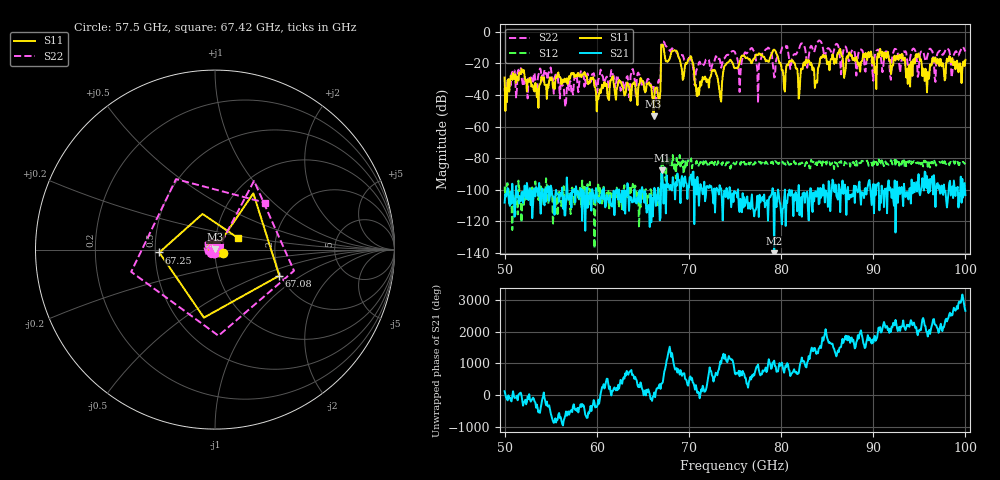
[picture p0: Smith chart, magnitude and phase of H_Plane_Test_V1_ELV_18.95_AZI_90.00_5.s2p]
! 11/27/2026 8:04:07 AM
! C:\ANRITSUVNA\TEMP\TEMP.S2P
! CHANNEL.1
! TR.MEASUREMENT
! RAW.DATA
# HZ S RI R 50.0
! FREQ.HZ  S11RE  S11IM  S21RE  S21IM  S12RE  S12IM  S22RE  S22IM
!; PortSelection: Port_12
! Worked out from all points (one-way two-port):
!   601 points, 50 GHz to 100 GHz, reference 50 ohm
!   highest |S21| = -87.73 dB at 67.08 GHz (marker M1); lowest = -140.0 dB at 79.25 GHz (marker M2)
!   lowest |S11| = -53.5 dB at 66.17 GHz (marker M3), VSWR 1.00, Z = 50.1 + j0.168 ohm
!   |S11| at or under -10 dB: start of sweep to 67 GHz; 67.24 GHz to end of sweep
!   |S22| runs from -47.6 to -5.6 dB; largest |S21 - S12| = 0.00013
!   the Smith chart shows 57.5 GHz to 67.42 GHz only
!   S11 on the Smith chart (normalised r, x): 57.5 GHz: 1.09, -0.04; 67.08 GHz: 1.96, -0.67; 67.25 GHz: 0.53, -0.02; 67.42 GHz: 1.28, +0.17
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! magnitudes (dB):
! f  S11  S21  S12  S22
! 50 GHz  -29.0  -108.1  -97.9  -35.8
! 51.67 GHz  -26.2  -104.4  -106.1  -23.2
! 53.42 GHz  -34.7  -98.2  -99.7  -35.5
! 57.5 GHz  -26.1  -101.2  -106.1  -34.5
! 58.42 GHz  -27.1  -119.6  -94.2  -24.6
! 60.17 GHz  -42.6  -107.6  -95.5  -30.2
! 66.17 GHz  -53.5  -105.4  -103.2  -33.8
! 66.67 GHz  -41.7  -98.7  -109.8  -31.6
! 67.08 GHz  -8.3  -87.7  -79.6  -6.8
! 67.25 GHz  -10.2  -108.7  -81.8  -6.3
! 67.42 GHz  -16.8  -97.0  -91.9  -8.4
! 70.25 GHz  -16.0  -90.3  -80.1  -18.8
! 70.92 GHz  -40.8  -91.8  -83.9  -22.9
! 75 GHz  -23.1  -101.4  -84.0  -13.1
! 79.25 GHz  -11.4  -140.0  -83.6  -29.0
! 80.25 GHz  -27.8  -111.4  -83.5  -9.3
! 83.42 GHz  -24.5  -114.0  -82.3  -10.9
! 91.67 GHz  -16.6  -94.0  -84.2  -15.3
! 93.75 GHz  -33.1  -105.2  -82.1  -21.7
! 94.83 GHz  -14.9  -97.9  -82.6  -28.6
! 95.83 GHz  -38.4  -91.3  -81.7  -16.4
! 100 GHz  -17.8  -103.4  -84.0  -12.6
